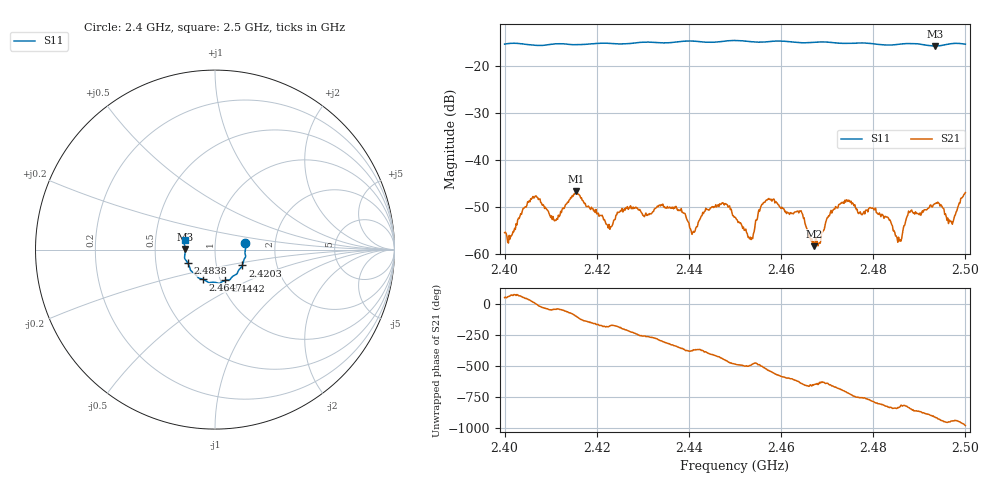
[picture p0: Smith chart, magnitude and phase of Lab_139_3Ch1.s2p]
# Hz S RI R 50
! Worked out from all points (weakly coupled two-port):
!   601 points, 2.4 GHz to 2.5 GHz, reference 50 ohm
!   highest |S21| = -46.69 dB at 2.4155 GHz (marker M1); lowest = -58.4 dB at 2.4672 GHz (marker M2)
!   lowest |S11| = -15.6 dB at 2.4935 GHz (marker M3), VSWR 1.40, Z = 35.8 + j0.0917 ohm
!   |S11| at or under -10 dB: start of sweep to end of sweep
!   S12 and S22 are empty: the file has one direction only
!   S11 on the Smith chart (normalised r, x): 2.4 GHz: 1.40, +0.11; 2.4203 GHz: 1.34, -0.24; 2.4442 GHz: 1.06, -0.37; 2.4647 GHz: 0.83, -0.29; 2.4838 GHz: 0.73, -0.11; 2.5 GHz: 0.71, +0.08
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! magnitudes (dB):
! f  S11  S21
! 2.4 GHz  -15.2  -55.5
! 2.4062 GHz  -15.4  -47.8
! 2.411 GHz  -15.2  -52.9
! 2.4155 GHz  -15.3  -46.7
! 2.4167 GHz  -15.3  -48.1
! 2.4203 GHz  -15.1  -51.3
! 2.4333 GHz  -14.9  -50.0
! 2.4408 GHz  -14.6  -55.5
! 2.4442 GHz  -14.8  -50.6
! 2.45 GHz  -14.4  -52.2
! 2.4533 GHz  -14.7  -56.5
! 2.4572 GHz  -14.7  -48.3
! 2.4647 GHz  -14.9  -51.6
! 2.4667 GHz  -14.9  -56.9
! 2.4672 GHz  -14.8  -58.4
! 2.4743 GHz  -15.1  -48.6
! 2.4833 GHz  -15.4  -52.5
! 2.4838 GHz  -15.4  -53.3
! 2.4857 GHz  -15.2  -57.3
! 2.4935 GHz  -15.6  -49.3
! 2.4968 GHz  -15.2  -53.2
! 2.5 GHz  -15.2  -47.0
